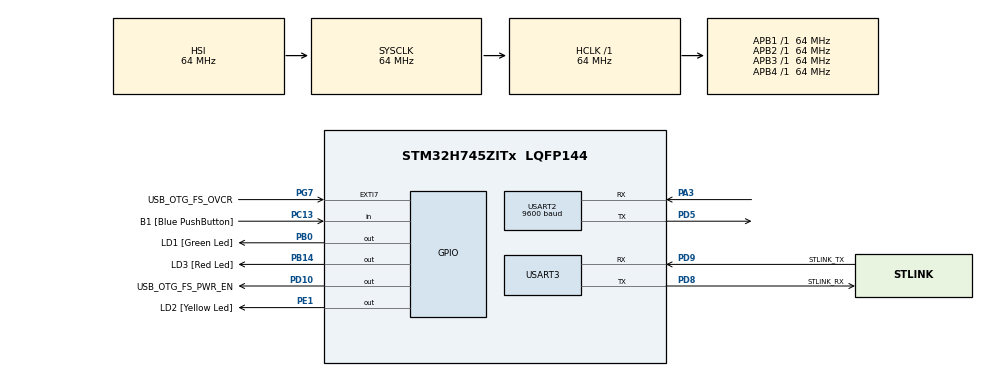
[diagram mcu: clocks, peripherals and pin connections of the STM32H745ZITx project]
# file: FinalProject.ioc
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CortexM4.IPs=FATFS_M4\:I,FREERTOS_M4\:I,IWDG2\:I,RCC,WWDG2\:I,DMA,BDMA,MDMA,NVIC2\:I,ETH,DEBUG,PDM2PCM_M4\:I,PWR,RESMGR_UTILITY,SYS_M4\:I,USB_DEVICE_M4\:I,USB_HOST_M4\:I,CORTEX_M4\:I,OPENAMP_M4\:I,VREFBUF
CortexM7.IPs=FATFS_M7\:I,FREERTOS_M7\:I,IWDG1\:I,RCC\:I,WWDG1\:I,DMA\:I,BDMA\:I,MDMA\:I,NVIC1\:I,SYS\:I,USART3\:I,USB_OTG_FS\:I,ETH\:I,CORTEX_M7\:I,DEBUG\:I,PDM2PCM_M7\:I,PWR\:I,RESMGR_UTILITY\:I,USB_DEVICE_M7\:I,USB_HOST_M7\:I,OPENAMP_M7\:I,VREFBUF\:I,USART2\:I
Mcu.Family=STM32H7
Mcu.Name=STM32H745ZITx
Mcu.Package=LQFP144
NVIC1.PriorityGroup=NVIC_PRIORITYGROUP_4
NVIC2.PriorityGroup=NVIC_PRIORITYGROUP_4
PA1.PinAttribute=CortexM7
PA1.Signal=ETH_REF_CLK
PA11.PinAttribute=CortexM7
PA11.Signal=USB_OTG_FS_DM
PA12.PinAttribute=CortexM7
PA12.Signal=USB_OTG_FS_DP
PA2.PinAttribute=CortexM7
PA2.Signal=ETH_MDIO
PA3.Mode=Asynchronous
PA3.PinAttribute=CortexM7
PA3.Signal=USART2_RX
PA7.PinAttribute=CortexM7
PA7.Signal=ETH_CRS_DV
PA8.PinAttribute=CortexM7
PA8.Signal=USB_OTG_FS_SOF
PA9.PinAttribute=CortexM7
PA9.Signal=USB_OTG_FS_VBUS
PB0.GPIO_Label=LD1 [Green Led]
PB0.PinAttribute=Free
PB0.Signal=GPIO_Output
PB13.PinAttribute=CortexM7
PB13.Signal=ETH_TXD1
PB14.GPIO_Label=LD3 [Red Led]
PB14.PinAttribute=Free
PB14.Signal=GPIO_Output
PC1.PinAttribute=CortexM7
PC1.Signal=ETH_MDC
PC13.GPIO_Label=B1 [Blue PushButton]
PC13.PinAttribute=Free
PC13.Signal=GPIO_Input
PC14-OSC32_IN\ (OSC32_IN).PinAttribute=CortexM7
PC14-OSC32_IN\ (OSC32_IN).Signal=RCC_OSC32_IN
PC15-OSC32_OUT\ (OSC32_OUT).PinAttribute=CortexM7
PC15-OSC32_OUT\ (OSC32_OUT).Signal=RCC_OSC32_OUT
PC4.PinAttribute=CortexM7
PC4.Signal=ETH_RXD0
PC5.PinAttribute=CortexM7
PC5.Signal=ETH_RXD1
PD10.GPIO_Label=USB_OTG_FS_PWR_EN
PD10.PinAttribute=Free
PD10.Signal=GPIO_Output
PD5.Mode=Asynchronous
PD5.PinAttribute=CortexM7
PD5.Signal=USART2_TX
PD8.GPIO_Label=STLINK_RX
PD8.Mode=Asynchronous
PD8.PinAttribute=CortexM7
PD8.Signal=USART3_TX
PD9.GPIO_Label=STLINK_TX
PD9.Mode=Asynchronous
PD9.PinAttribute=CortexM7
PD9.Signal=USART3_RX
PE1.GPIO_Label=LD2 [Yellow Led]
PE1.PinAttribute=Free
PE1.Signal=GPIO_Output
PG11.PinAttribute=CortexM7
PG11.Signal=ETH_TX_EN
PG13.PinAttribute=CortexM7
PG13.Signal=ETH_TXD0
PG7.GPIO_Label=USB_OTG_FS_OVCR
PG7.PinAttribute=Free
PG7.Signal=GPXTI7
PH0-OSC_IN\ (PH0).PinAttribute=CortexM7
PH0-OSC_IN\ (PH0).Signal=RCC_OSC_IN
PH1-OSC_OUT\ (PH1).PinAttribute=CortexM7
PH1-OSC_OUT\ (PH1).Signal=RCC_OSC_OUT
ProjectManager.HeapSize=0x200
ProjectManager.StackSize=0x400
ProjectManager.TargetToolchain=STM32CubeIDE
RCC.ADCFreq_Value=129000000
RCC.APB1Freq_Value=64000000
RCC.APB2Freq_Value=64000000
RCC.APB3Freq_Value=64000000
RCC.APB4Freq_Value=64000000
RCC.CortexFreq_Value=64000000
RCC.DIVM1=18
RCC.DIVM3=22
RCC.DIVN3=169
RCC.DIVQ3=4
RCC.HCLKFreq_Value=64000000
RCC.PLL2FRACN=0
RCC.PLL3FRACN=0
RCC.PLLFRACN=0
RCC.SYSCLKFreq_VALUE=64000000
RCC.SupplySource=PWR_DIRECT_SMPS_SUPPLY
RCC.USBCLockSelection=RCC_USBCLKSOURCE_PLL3
RCC.USBFreq_Value=122909090.9090909
USART2.BaudRate=9600
USART2.VirtualMode-Asynchronous=VM_ASYNC
USART3.VirtualMode-Asynchronous=VM_ASYNC
VP_SYS_M4_VS_Systick.Mode=SysTick
board=NUCLEO-H745ZI-Q

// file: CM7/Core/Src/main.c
/* USER CODE BEGIN Header */
/**
 ******************************************************************************
 * @file           : main.c
 * @brief          : Main program body
 ******************************************************************************
 * @attention
 *
 * <h2><center>&copy; Copyright (c) 2022 STMicroelectronics.
 * All rights reserved.</center></h2>
 *
 * This software component is licensed by ST under BSD 3-Clause license,
 * the "License"; You may not use this file except in compliance with the
 * License. You may obtain a copy of the License at:
 *                        opensource.org/licenses/BSD-3-Clause
 *
 ******************************************************************************
 */
/* USER CODE END Header */
#include "main.h"

/* USER CODE BEGIN Includes */
#include <stdio.h>
#include <stdlib.h>

#include "ServoControl.h"
/* USER CODE END Includes */

/* USER CODE BEGIN PD */

#ifndef HSEM_ID_0
#define HSEM_ID_0 (0U) /* HW semaphore 0*/
#endif
/* USER CODE END PD */

UART_HandleTypeDef huart2;
UART_HandleTypeDef huart3;

/* USER CODE BEGIN PV */
int x0, start, mv, action, getBall, throwInit, throwBall;
int wsc;
char command;
uint8_t uart3InputBuffer[10];

uint32_t servo_list[6] = {1, 2, 3, 4, 5, 6};
uint32_t servo_pwm_list[6] = {1500, 1700, 800, 1500, 2300, 1500};
/* USER CODE END PV */

void SystemClock_Config(void);
static void MX_GPIO_Init(void);
static void MX_USART3_UART_Init(void);
static void MX_USART2_UART_Init(void);
/* USER CODE BEGIN PFP */
// ref: https://blog.csdn.net/wschou/article/details/106594045
#undef PUTCHAR_PROTOTYPE
#undef GETCHAR_PROTOTYPE
#ifdef __GNUC__
#define PUTCHAR_PROTOTYPE int __io_putchar(int ch)
#define GETCHAR_PROTOTYPE int __io_getchar(FILE *f)
#else
#define PUTCHAR_PROTOTYPE int fputc(int ch, FILE *f)
#define GETCHAR_PROTOTYPE int fgetc(FILE *f)
#endif
// HAL库
PUTCHAR_PROTOTYPE {  // scanf() usually not use
    HAL_UART_Transmit(&huart3, (uint8_t *)&ch, 1, HAL_MAX_DELAY);
    return ch;
}
GETCHAR_PROTOTYPE {  // printf()
    uint8_t ch;
    HAL_UART_Receive(&huart3, (uint8_t *)&ch, 1, HAL_MAX_DELAY);
    return ch;
}

// my code
void init();
void grafcet();
/* USER CODE END PFP */

int main(void) {
    /* USER CODE BEGIN Boot_Mode_Sequence_0 */
    int32_t timeout;
    /* USER CODE END Boot_Mode_Sequence_0 */

    /* USER CODE BEGIN Boot_Mode_Sequence_1 */
    /* Wait until CPU2 boots and enters in stop mode or timeout*/
    timeout = 0xFFFF;
    while ((__HAL_RCC_GET_FLAG(RCC_FLAG_D2CKRDY) != RESET) && (timeout-- > 0))
        ;
    if (timeout < 0) {
        Error_Handler();
    }
    /* USER CODE END Boot_Mode_Sequence_1 */
    /* MCU Configuration--------------------------------------------------------*/

    /* Reset of all peripherals, Initializes the Flash interface and the Systick. */
    HAL_Init();

    /* Configure the system clock */
    SystemClock_Config();
    /* USER CODE BEGIN Boot_Mode_Sequence_2 */
    /* When system initialization is finished, Cortex-M7 will release Cortex-M4 by means of
    HSEM notification */
    /*HW semaphore Clock enable*/
    __HAL_RCC_HSEM_CLK_ENABLE();
    /*Take HSEM */
    HAL_HSEM_FastTake(HSEM_ID_0);
    /*Release HSEM in order to notify the CPU2(CM4)*/
    HAL_HSEM_Release(HSEM_ID_0, 0);
    /* wait until CPU2 wakes up from stop mode */
    timeout = 0xFFFF;
    while ((__HAL_RCC_GET_FLAG(RCC_FLAG_D2CKRDY) == RESET) && (timeout-- > 0))
        ;
    if (timeout < 0) {
        Error_Handler();
    }
    /* USER CODE END Boot_Mode_Sequence_2 */

    /* Initialize all configured peripherals */
    MX_GPIO_Init();
    MX_USART3_UART_Init();
    MX_USART2_UART_Init();
    /* USER CODE BEGIN 2 */
    init();

    robotInit(&huart2, 2000);
    /* USER CODE END 2 */

    /* Infinite loop */
    while (1) {

        /* USER CODE BEGIN 3 */
        grafcet();
        //        HAL_Delay(100);
    }
    /* USER CODE END 3 */
}

void SystemClock_Config(void) {
    RCC_OscInitTypeDef RCC_OscInitStruct = {0};
    RCC_ClkInitTypeDef RCC_ClkInitStruct = {0};
    RCC_PeriphCLKInitTypeDef PeriphClkInitStruct = {0};

    /** Supply configuration update enable
     */
    HAL_PWREx_ConfigSupply(PWR_DIRECT_SMPS_SUPPLY);
    /** Configure the main internal regulator output voltage
     */
    __HAL_PWR_VOLTAGESCALING_CONFIG(PWR_REGULATOR_VOLTAGE_SCALE3);

    while (!__HAL_PWR_GET_FLAG(PWR_FLAG_VOSRDY)) {
    }
    /** Initializes the RCC Oscillators according to the specified parameters
     * in the RCC_OscInitTypeDef structure.
     */
    RCC_OscInitStruct.OscillatorType = RCC_OSCILLATORTYPE_HSI;
    RCC_OscInitStruct.HSIState = RCC_HSI_DIV1;
    RCC_OscInitStruct.HSICalibrationValue = RCC_HSICALIBRATION_DEFAULT;
    RCC_OscInitStruct.PLL.PLLState = RCC_PLL_NONE;
    if (HAL_RCC_OscConfig(&RCC_OscInitStruct) != HAL_OK) {
        Error_Handler();
    }
    /** Initializes the CPU, AHB and APB buses clocks
     */
    RCC_ClkInitStruct.ClockType = RCC_CLOCKTYPE_HCLK | RCC_CLOCKTYPE_SYSCLK | RCC_CLOCKTYPE_PCLK1 |
                                  RCC_CLOCKTYPE_PCLK2 | RCC_CLOCKTYPE_D3PCLK1 |
                                  RCC_CLOCKTYPE_D1PCLK1;
    RCC_ClkInitStruct.SYSCLKSource = RCC_SYSCLKSOURCE_HSI;
    RCC_ClkInitStruct.SYSCLKDivider = RCC_SYSCLK_DIV1;
    RCC_ClkInitStruct.AHBCLKDivider = RCC_HCLK_DIV1;
    RCC_ClkInitStruct.APB3CLKDivider = RCC_APB3_DIV1;
    RCC_ClkInitStruct.APB1CLKDivider = RCC_APB1_DIV1;
    RCC_ClkInitStruct.APB2CLKDivider = RCC_APB2_DIV1;
    RCC_ClkInitStruct.APB4CLKDivider = RCC_APB4_DIV1;

    if (HAL_RCC_ClockConfig(&RCC_ClkInitStruct, FLASH_LATENCY_0) != HAL_OK) {
        Error_Handler();
    }
    PeriphClkInitStruct.PeriphClockSelection = RCC_PERIPHCLK_USART3 | RCC_PERIPHCLK_USART2;
    PeriphClkInitStruct.Usart234578ClockSelection = RCC_USART234578CLKSOURCE_D2PCLK1;
    if (HAL_RCCEx_PeriphCLKConfig(&PeriphClkInitStruct) != HAL_OK) {
        Error_Handler();
    }
}

static void MX_USART2_UART_Init(void) {

    huart2.Instance = USART2;
    huart2.Init.BaudRate = 9600;
    huart2.Init.WordLength = UART_WORDLENGTH_8B;
    huart2.Init.StopBits = UART_STOPBITS_1;
    huart2.Init.Parity = UART_PARITY_NONE;
    huart2.Init.Mode = UART_MODE_TX_RX;
    huart2.Init.HwFlowCtl = UART_HWCONTROL_NONE;
    huart2.Init.OverSampling = UART_OVERSAMPLING_16;
    huart2.Init.OneBitSampling = UART_ONE_BIT_SAMPLE_DISABLE;
    huart2.Init.ClockPrescaler = UART_PRESCALER_DIV1;
    huart2.AdvancedInit.AdvFeatureInit = UART_ADVFEATURE_NO_INIT;
    if (HAL_UART_Init(&huart2) != HAL_OK) {
        Error_Handler();
    }
    if (HAL_UARTEx_SetTxFifoThreshold(&huart2, UART_TXFIFO_THRESHOLD_1_8) != HAL_OK) {
        Error_Handler();
    }
    if (HAL_UARTEx_SetRxFifoThreshold(&huart2, UART_RXFIFO_THRESHOLD_1_8) != HAL_OK) {
        Error_Handler();
    }
    if (HAL_UARTEx_DisableFifoMode(&huart2) != HAL_OK) {
        Error_Handler();
    }
}

static void MX_USART3_UART_Init(void) {

    huart3.Instance = USART3;
    huart3.Init.BaudRate = 115200;
    huart3.Init.WordLength = UART_WORDLENGTH_8B;
    huart3.Init.StopBits = UART_STOPBITS_1;
    huart3.Init.Parity = UART_PARITY_NONE;
    huart3.Init.Mode = UART_MODE_TX_RX;
    huart3.Init.HwFlowCtl = UART_HWCONTROL_NONE;
    huart3.Init.OverSampling = UART_OVERSAMPLING_16;
    huart3.Init.OneBitSampling = UART_ONE_BIT_SAMPLE_DISABLE;
    huart3.Init.ClockPrescaler = UART_PRESCALER_DIV1;
    huart3.AdvancedInit.AdvFeatureInit = UART_ADVFEATURE_NO_INIT;
    if (HAL_UART_Init(&huart3) != HAL_OK) {
        Error_Handler();
    }
    if (HAL_UARTEx_SetTxFifoThreshold(&huart3, UART_TXFIFO_THRESHOLD_1_8) != HAL_OK) {
        Error_Handler();
    }
    if (HAL_UARTEx_SetRxFifoThreshold(&huart3, UART_RXFIFO_THRESHOLD_1_8) != HAL_OK) {
        Error_Handler();
    }
    if (HAL_UARTEx_DisableFifoMode(&huart3) != HAL_OK) {
        Error_Handler();
    }
}

static void MX_GPIO_Init(void) {
    GPIO_InitTypeDef GPIO_InitStruct = {0};

    /* GPIO Ports Clock Enable */
    __HAL_RCC_GPIOC_CLK_ENABLE();
    __HAL_RCC_GPIOH_CLK_ENABLE();
    __HAL_RCC_GPIOA_CLK_ENABLE();
    __HAL_RCC_GPIOB_CLK_ENABLE();
    __HAL_RCC_GPIOD_CLK_ENABLE();
    __HAL_RCC_GPIOG_CLK_ENABLE();

    /*Configure GPIO pins : PC1 PC4 PC5 */
    GPIO_InitStruct.Pin = GPIO_PIN_1 | GPIO_PIN_4 | GPIO_PIN_5;
    GPIO_InitStruct.Mode = GPIO_MODE_AF_PP;
    GPIO_InitStruct.Pull = GPIO_NOPULL;
    GPIO_InitStruct.Speed = GPIO_SPEED_FREQ_LOW;
    GPIO_InitStruct.Alternate = GPIO_AF11_ETH;
    HAL_GPIO_Init(GPIOC, &GPIO_InitStruct);

    /*Configure GPIO pins : PA1 PA2 PA7 */
    GPIO_InitStruct.Pin = GPIO_PIN_1 | GPIO_PIN_2 | GPIO_PIN_7;
    GPIO_InitStruct.Mode = GPIO_MODE_AF_PP;
    GPIO_InitStruct.Pull = GPIO_NOPULL;
    GPIO_InitStruct.Speed = GPIO_SPEED_FREQ_LOW;
    GPIO_InitStruct.Alternate = GPIO_AF11_ETH;
    HAL_GPIO_Init(GPIOA, &GPIO_InitStruct);

    /*Configure GPIO pin : PB13 */
    GPIO_InitStruct.Pin = GPIO_PIN_13;
    GPIO_InitStruct.Mode = GPIO_MODE_AF_PP;
    GPIO_InitStruct.Pull = GPIO_NOPULL;
    GPIO_InitStruct.Speed = GPIO_SPEED_FREQ_LOW;
    GPIO_InitStruct.Alternate = GPIO_AF11_ETH;
    HAL_GPIO_Init(GPIOB, &GPIO_InitStruct);

    /*Configure GPIO pins : PA8 PA11 PA12 */
    GPIO_InitStruct.Pin = GPIO_PIN_8 | GPIO_PIN_11 | GPIO_PIN_12;
    GPIO_InitStruct.Mode = GPIO_MODE_AF_PP;
    GPIO_InitStruct.Pull = GPIO_NOPULL;
    GPIO_InitStruct.Speed = GPIO_SPEED_FREQ_LOW;
    GPIO_InitStruct.Alternate = GPIO_AF10_OTG1_FS;
    HAL_GPIO_Init(GPIOA, &GPIO_InitStruct);

    /*Configure GPIO pins : PG11 PG13 */
    GPIO_InitStruct.Pin = GPIO_PIN_11 | GPIO_PIN_13;
    GPIO_InitStruct.Mode = GPIO_MODE_AF_PP;
    GPIO_InitStruct.Pull = GPIO_NOPULL;
    GPIO_InitStruct.Speed = GPIO_SPEED_FREQ_LOW;
    GPIO_InitStruct.Alternate = GPIO_AF11_ETH;
    HAL_GPIO_Init(GPIOG, &GPIO_InitStruct);
}

/* USER CODE BEGIN 4 */
void init() {
    x0 = 1;
    start = 0;
    mv = 0;
    action = 0;
    getBall = 0;
    throwInit = 0;
    throwBall = 0;
}

void grafcet() {
    if (x0 == 1) {  // 0
        printf("start or not(y/n): ");
        fflush(stdout);
        while (HAL_OK != HAL_UART_Receive(&huart3, uart3InputBuffer, 1, 100))
            ;

        char tmp[10];
        snprintf(tmp, "%d", uart3InputBuffer);
        printf(tmp);
        printf("\r\n");
        fflush(stdout);
        if (strcmp(tmp, "y") == 0) {
            printf("program started\r\n");
            fflush(stdout);
            start = 1, x0 = 0;
        }

    } else if (start == 1) {  // 1
        printf("夾子移動成功\r\n");
        fflush(stdout);
        servo_pwm_list[0] = 1500;
        servo_pwm_list[1] = 1700;
        servo_pwm_list[2] = 800;
        servo_pwm_list[3] = 1500;
        servo_pwm_list[4] = 2300;
        servo_pwm_list[5] = 950;
        robot_control_cmd(&huart2, 6, 1000, servo_list, servo_pwm_list);
        wsc = 0;
        mv = 1, start = 0;
    } else if (mv == 1) {  // 2
        printf("接收從電腦指令(w/s/a/d/space): ");
        fflush(stdout);
        while (HAL_OK != HAL_UART_Receive(&huart3, uart3InputBuffer, 1, 100))
            ;

        char tmp[10];
        snprintf(tmp, "%d", uart3InputBuffer);
        printf(tmp);
        printf("\r\n");
        fflush(stdout);
        command = tmp[0];
        printf("接收電腦指令成功\r\n");
        fflush(stdout);
        action = 1, mv = 0;

    } else if (action == 1) {  // 3
        switch (command) {
            case ' ':  // space
                printf("detect space pressed\r\n");
                fflush(stdout);
                getBall = 1, action = 0;
                break;
            case 'w':
                wsc++;
                printf("complete forward\r\n");
                fflush(stdout);
                servo_pwm_list[1] += 50;
                servo_pwm_list[2] += 100;
                mv = 1, action = 0;
                break;
            case 's':
                wsc--;
                printf("complete backward\r\n");
                fflush(stdout);
                servo_pwm_list[1] -= 50;
                servo_pwm_list[2] -= 100;
                mv = 1, action = 0;
                break;
            case 'a':
                printf("complete left\r\n");
                fflush(stdout);
                servo_pwm_list[0] += 100;
                mv = 1, action = 0;
                break;
            case 'd':
                printf("complete right\r\n");
                fflush(stdout);
                servo_pwm_list[0] -= 100;
                mv = 1, action = 0;
                break;
            default:
                printf("nothing done\r\n");
                fflush(stdout);
                mv = 1, action = 0;
                break;
        }
        robot_control_cmd(&huart2, 6, 1000, servo_list, servo_pwm_list);
    } else if (getBall == 1) {  // 4
        printf("完成take up the ball\r\n");
        fflush(stdout);

        servo_pwm_list[1] -= 100 + ((wsc > 0) ? (wsc * -50) : ((int)(wsc / 2) * 50));
        //- (wc) * 50 - sc * 25;
        servo_pwm_list[2] = (servo_pwm_list[2] - 300) < 400 ? 400 : (servo_pwm_list[2] - 300);
        servo_pwm_list[3] += 350 + ((wsc > 0) ? (wsc * -50) : (wsc * 100));
        // -(wc)*50 - (sc)*100;
        robot_control_cmd(&huart2, 6, 1000, servo_list, servo_pwm_list);

        servo_pwm_list[5] = 1700;
        robot_control_cmd(&huart2, 6, 1000, servo_list, servo_pwm_list);

        HAL_Delay(1000);
        throwInit = 1, getBall = 0;
    } else if (throwInit == 1) {                          // 5
        printf("完成move the ball to 投球預備位置\r\n");  // print 每個字有100 delay
        fflush(stdout);

        servo_pwm_list[0] = 1500;
        servo_pwm_list[1] = 1700;
        servo_pwm_list[2] = 2000;
        servo_pwm_list[3] = 1500;
        servo_pwm_list[4] = 2300;
        servo_pwm_list[5] = 2500;
        robot_control_cmd(&huart2, 6, 500, servo_list, servo_pwm_list);

        throwBall = 1, throwInit = 0;
    } else if (throwBall == 1) {  // 6
        servo_pwm_list[0] = 1500;
        servo_pwm_list[1] = 1400;
        servo_pwm_list[2] = 2000;
        servo_pwm_list[3] = 2100;
        servo_pwm_list[4] = 2500;
        servo_pwm_list[5] = 950;
        robot_control_cmd(&huart2, 6, 200, servo_list, servo_pwm_list);

        printf("完成throw the ball\r\n");
        fflush(stdout);
        x0 = 1, throwBall = 0;
    }
}
/* USER CODE END 4 */

void Error_Handler(void) {
    __disable_irq();
    while (1) {
    }
}

/************************ (C) COPYRIGHT STMicroelectronics *****END OF FILE****/
